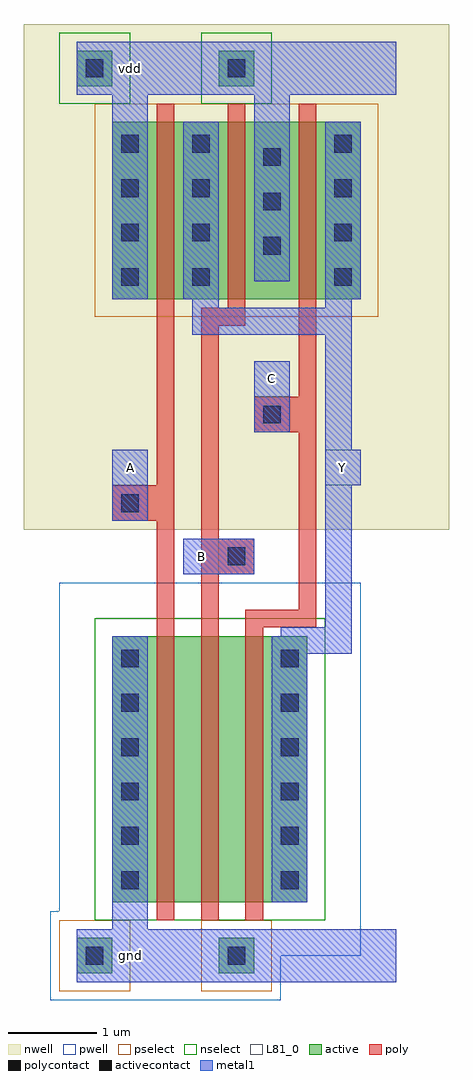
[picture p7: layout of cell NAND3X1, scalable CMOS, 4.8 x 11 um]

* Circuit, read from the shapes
.subckt NAND3X1 A B C Y gnd vdd
M1 n1 A gnd gnd nfet w=3u l=0.2u
M2 n2 B n1 gnd nfet w=3u l=0.2u
M3 Y C n2 gnd nfet w=3u l=0.2u
M4 Y A vdd vdd pfet w=2u l=0.2u
M5 vdd B Y vdd pfet w=2u l=0.2u
M6 Y C vdd vdd pfet w=2u l=0.2u
.ends

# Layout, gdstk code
import gdstk
lib = gdstk.Library(unit=1e-6, precision=1e-09)
def R(c, l, rs):  # rectangles x0, y0, x1, y1
    for r in rs: c.add(gdstk.rectangle(r[:2], r[2:], *l))
def A(c, l, x, y, w, h, nx, ny, dx, dy):  # array of equal rectangles
    R(c, l, [(x+i*dx, y+j*dy, x+i*dx+w, y+j*dy+h) for i in range(nx) for j in range(ny)])
pwell = (41, 0)
nwell = (42, 0)
active = (43, 0)
pselect = (44, 0)
nselect = (45, 0)
poly = (46, 0)
polycontact = (47, 0)
activecontact = (48, 0)
metal1 = (49, 0)
L81_0 = (81, 0)

nand3x1 = lib.new_cell('NAND3X1')
R(nand3x1, pwell, [(-0.5,-0.5,2.1,0), (-0.5,0,3,0.5), (-0.4,0.5,3,4.2)])
R(nand3x1, nwell, [(-0.8,4.8,4,10.5)])
R(nand3x1, active, [(-0.2,-0.2,0.2,0.2), (1.4,-0.2,1.8,0.2), (0.2,0.6,2.4,3.6), (0.2,7.4,3,9.4), (-0.2,9.8,0.2,10.2), (1.4,9.8,1.8,10.2)])
R(nand3x1, pselect, [(-0.4,-0.4,0.4,0.4), (1.2,-0.4,2,0.4), (0,7.2,3.2,9.6)])
R(nand3x1, nselect, [(0,0.4,2.6,3.8), (-0.4,9.6,0.4,10.4), (1.2,9.6,2,10.4)])
R(nand3x1, poly, [(0.7,0.4,0.9,4.9), (1.2,0.4,1.4,4.3), (1.7,0.4,1.9,3.7), (1.7,3.7,2.5,3.9), (2.3,3.9,2.5,5.9), (1.2,4.3,1.8,4.7), (1.2,4.7,1.4,7.1), (0.2,4.9,0.9,5.3), (0.7,5.3,0.9,9.6), (1.8,5.9,2.5,6.3), (2.3,6.3,2.5,9.6), (1.2,7.1,1.7,7.3), (1.5,7.3,1.7,9.6)])
R(nand3x1, polycontact, [(1.5,4.4,1.7,4.6), (0.3,5,0.5,5.2), (1.9,6,2.1,6.2)])
A(nand3x1, activecontact, 0.3, 0.75, 0.2, 0.2, 1, 6, 0, 0.5)
A(nand3x1, activecontact, 2.1, 0.75, 0.2, 0.2, 1, 6, 0, 0.5)
A(nand3x1, activecontact, 0.3, 7.55, 0.2, 0.2, 1, 4, 0, 0.5)
A(nand3x1, activecontact, 1.1, 7.55, 0.2, 0.2, 1, 4, 0, 0.5)
A(nand3x1, activecontact, 2.7, 7.55, 0.2, 0.2, 1, 4, 0, 0.5)
A(nand3x1, activecontact, 1.9, 7.9, 0.2, 0.2, 1, 3, 0, 0.5)
R(nand3x1, activecontact, [(-0.1,-0.1,0.1,0.1), (1.5,-0.1,1.7,0.1), (-0.1,9.9,0.1,10.1), (1.5,9.9,1.7,10.1)])
R(nand3x1, metal1, [(-0.2,-0.3,3.4,0.3), (0.2,0.3,0.6,3.6), (2,0.6,2.4,3.4), (2,3.4,2.9,3.6), (2.1,3.6,2.9,3.7), (2.6,3.7,2.9,5.3), (1,4.3,1.8,4.7), (0.2,4.9,0.6,5.7), (2.6,5.3,3,5.7), (2.6,5.7,2.9,7), (1.8,5.9,2.2,6.7), (1.1,7,2.9,7.3), (1.1,7.3,1.4,7.4), (2.6,7.3,2.9,7.4), (0.2,7.4,0.6,9.7), (1,7.4,1.4,9.4), (2.6,7.4,3,9.4), (1.8,7.6,2.2,9.7), (-0.2,9.7,3.4,10.3)])
R(nand3x1, L81_0, [(1,4.3,1.4,4.7), (0.2,5.3,0.6,5.7), (2.6,5.3,3,5.7), (1.8,6.3,2.2,6.7)])
nand3x1.add(gdstk.Label('B', (1.2,4.5), layer=49, texttype=0))
nand3x1.add(gdstk.Label('vdd', (0.4,10), layer=49, texttype=0))
nand3x1.add(gdstk.Label('gnd', (0.4,0), layer=49, texttype=0))
nand3x1.add(gdstk.Label('A', (0.4,5.5), layer=49, texttype=0))
nand3x1.add(gdstk.Label('C', (2,6.5), layer=49, texttype=0))
nand3x1.add(gdstk.Label('Y', (2.8,5.5), layer=49, texttype=0))

lib.write_gds('NAND3X1.gds')
